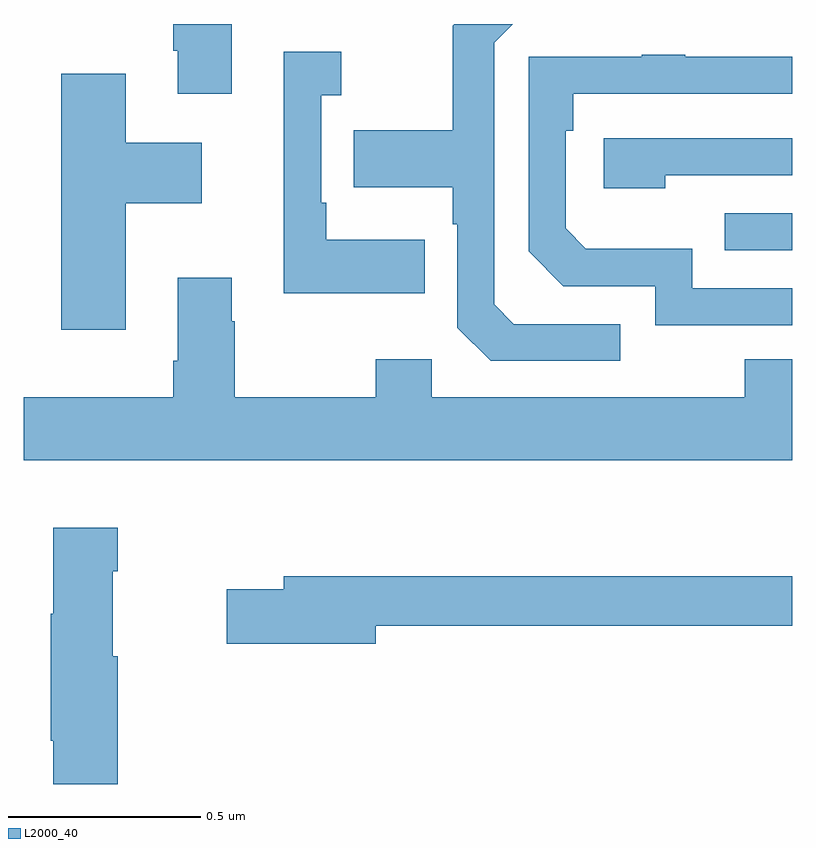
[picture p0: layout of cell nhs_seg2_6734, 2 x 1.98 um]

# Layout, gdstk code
import gdstk
lib = gdstk.Library(unit=1e-6, precision=1e-09)
def R(c, l, rs):  # rectangles x0, y0, x1, y1
    for r in rs: c.add(gdstk.rectangle(r[:2], r[2:], *l))
def P(c, l, *ps):  # polygons
    for p in ps: c.add(gdstk.Polygon(p, *l))
L2000_40 = (2000, 40)

nhs_seg2_6734 = lib.new_cell('nhs_seg2_6734')
R(nhs_seg2_6734, L2000_40, [(196.825,620.211,197,620.307)])
P(nhs_seg2_6734, L2000_40, [(195.541,620.8),(195.389,620.8),(195.389,620.731),(195.401,620.731),(195.401,620.619),(195.541,620.619)],
  [(196.552,620.019),(196.275,620.019),(196.224,620.07),(196.224,620.751),(196.273,620.8),(196.121,620.8),(196.116,620.795),(196.116,620.523),(195.859,620.523),(195.859,620.375),(196.116,620.375),(196.116,620.279),(196.128,620.279),(196.128,620.01),(196.215,619.923),(196.552,619.923)],
  [(196.043,620.239),(195.787,620.239),(195.787,620.335),(195.774,620.335),(195.774,620.615),(195.826,620.615),(195.826,620.728),(195.677,620.728),(195.677,620.099),(196.043,620.099)],
  [(197,620.112),(196.74,620.112),(196.74,620.215),(196.463,620.215),(196.41,620.268),(196.41,620.522),(196.43,620.522),(196.43,620.619),(197,620.619),(197,620.715),(196.721,620.715),(196.721,620.72),(196.609,620.72),(196.609,620.715),(196.314,620.715),(196.314,620.208),(196.404,620.118),(196.644,620.118),(196.644,620.016),(197,620.016)],
  [(195.265,620.333),(195.463,620.333),(195.463,620.491),(195.265,620.491),(195.265,620.671),(195.098,620.671),(195.098,620.004),(195.265,620.004)],
  [(196.67,620.406),(197,620.406),(197,620.502),(196.509,620.502),(196.509,620.372),(196.67,620.372)],
  [(197,619.927),(196.876,619.927),(196.876,619.828),(196.062,619.828),(196.062,619.927),(195.916,619.927),(195.916,619.828),(195.549,619.828),(195.549,620.027),(195.541,620.027),(195.541,620.14),(195.401,620.14),(195.401,619.924),(195.389,619.924),(195.389,619.828),(195,619.828),(195,619.664),(197,619.664)],
  [(195.245,619.155),(195.232,619.155),(195.232,619.376),(195.245,619.376),(195.245,619.489),(195.077,619.489),(195.077,619.265),(195.07,619.265),(195.07,618.934),(195.077,618.934),(195.077,618.822),(195.245,618.822)],
  [(195.916,619.234),(197,619.234),(197,619.363),(195.677,619.363),(195.677,619.329),(195.528,619.329),(195.528,619.187),(195.916,619.187)])

lib.write_gds('nhs_seg2_6734.gds')
